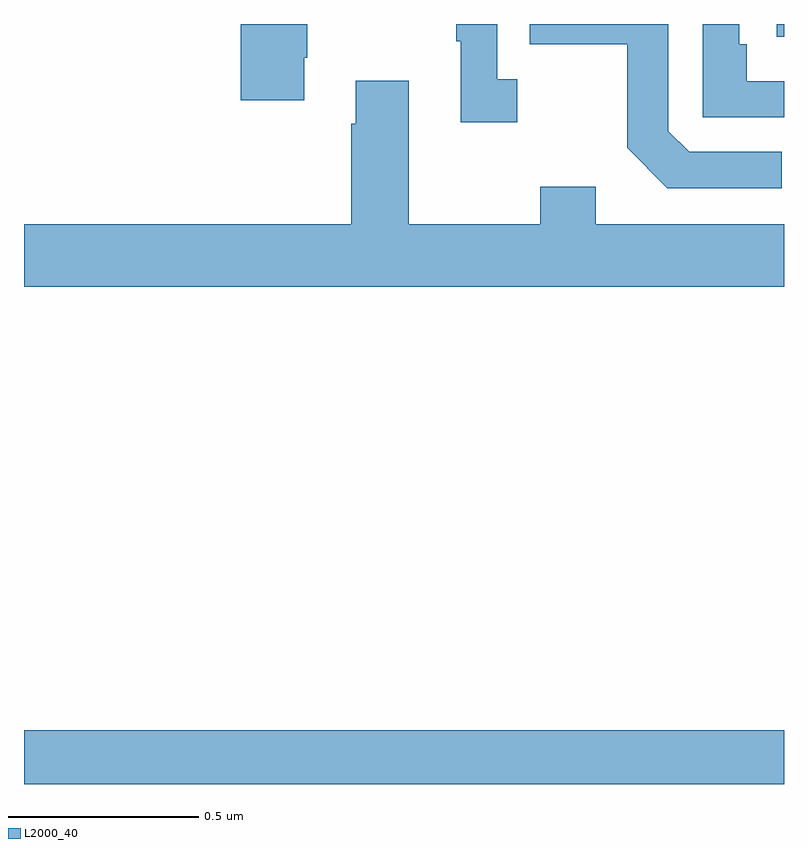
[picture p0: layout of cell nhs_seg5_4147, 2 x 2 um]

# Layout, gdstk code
import gdstk
lib = gdstk.Library(unit=1e-6, precision=1e-09)
def R(c, l, rs):  # rectangles x0, y0, x1, y1
    for r in rs: c.add(gdstk.rectangle(r[:2], r[2:], *l))
def P(c, l, *ps):  # polygons
    for p in ps: c.add(gdstk.Polygon(p, *l))
L2000_40 = (2000, 40)

nhs_seg5_4147 = lib.new_cell('nhs_seg5_4147')
R(nhs_seg5_4147, L2000_40, [(167,840.799,169,840.94), (168.981,842.766,169,842.799)])
P(nhs_seg5_4147, L2000_40, [(167.737,842.71),(167.745,842.71),(167.745,842.799),(167.57,842.799),(167.57,842.598),(167.737,842.598)],
  [(168.298,842.654),(168.246,842.654),(168.246,842.799),(168.138,842.799),(168.138,842.753),(168.149,842.753),(168.149,842.541),(168.298,842.541)],
  [(168.994,842.463),(168.75,842.463),(168.696,842.517),(168.696,842.799),(168.331,842.799),(168.331,842.746),(168.588,842.746),(168.588,842.473),(168.693,842.367),(168.994,842.367)],
  [(169,842.649),(168.902,842.649),(168.902,842.746),(168.882,842.746),(168.882,842.799),(168.786,842.799),(168.786,842.553),(169,842.553)],
  [(169,842.272),(168.505,842.272),(168.505,842.371),(168.358,842.371),(168.358,842.272),(168.013,842.272),(168.013,842.65),(167.873,842.65),(167.873,842.537),(167.861,842.537),(167.861,842.272),(167,842.272),(167,842.108),(169,842.108)])

lib.write_gds('nhs_seg5_4147.gds')
